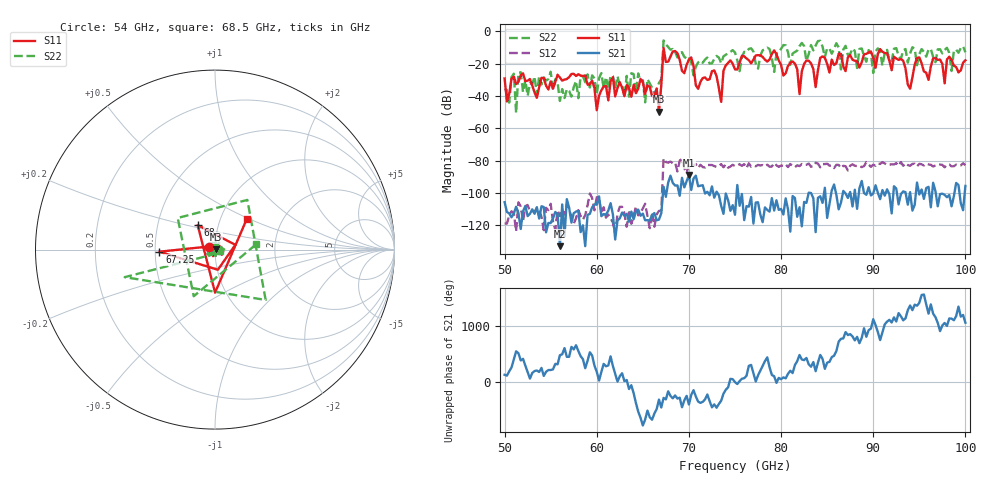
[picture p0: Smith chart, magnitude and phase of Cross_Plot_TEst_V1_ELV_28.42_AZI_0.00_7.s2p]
! 11/25/2026 1:19:46 PM
! C:\ANRITSUVNA\TEMP\TEMP.S2P
! CHANNEL.1
! TR.MEASUREMENT
! RAW.DATA
# HZ S RI R 50.0
! FREQ.HZ  S11RE  S11IM  S21RE  S21IM  S12RE  S12IM  S22RE  S22IM
!; PortSelection: Port_12
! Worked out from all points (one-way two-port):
!   201 points, 50 GHz to 100 GHz, reference 50 ohm
!   highest |S21| = -88.98 dB at 70 GHz (marker M1); lowest = -133.0 dB at 56 GHz (marker M2)
!   lowest |S11| = -49.7 dB at 66.75 GHz (marker M3), VSWR 1.01, Z = 50.3 + j0.0705 ohm
!   |S11| at or under -10 dB: start of sweep to end of sweep
!   |S22| runs from -50.5 to -5.6 dB; largest |S21 - S12| = 0.00013
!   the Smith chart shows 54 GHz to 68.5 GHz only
!   S11 on the Smith chart (normalised r, x): 54 GHz: 0.93, +0.03; 67.25 GHz: 0.53, -0.01; 68 GHz: 0.80, +0.22; 68.5 GHz: 1.33, +0.49
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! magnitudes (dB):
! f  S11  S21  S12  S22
! 50 GHz  -29.1  -105.7  -118.9  -35.8
! 51 GHz  -27.9  -112.6  -112.4  -26.2
! 51.25 GHz  -32.6  -108.6  -123.9  -50.5
! 51.5 GHz  -31.2  -112.5  -105.8  -25.7
! 54 GHz  -28.7  -108.3  -114.9  -32.9
! 56 GHz  -28.6  -133.0  -114.3  -43.1
! 58.5 GHz  -27.7  -120.1  -116.6  -27.7
! 60 GHz  -48.8  -107.3  -102.7  -38.6
! 61.75 GHz  -28.4  -113.3  -118.3  -27.7
! 66.75 GHz  -49.7  -116.6  -111.2  -31.9
! 67.25 GHz  -10.2  -96.2  -78.7  -5.6
! 68 GHz  -15.5  -89.4  -80.6  -11.3
! 68.5 GHz  -12.1  -95.5  -81.2  -12.7
! 70 GHz  -17.4  -89.0  -81.7  -15.6
! 73.5 GHz  -43.6  -108.0  -82.2  -19.7
! 73.75 GHz  -24.3  -113.0  -84.1  -15.4
! 75 GHz  -23.5  -113.5  -83.4  -13.0
! 83.5 GHz  -23.4  -103.3  -83.6  -11.8
! 91.75 GHz  -18.2  -100.8  -82.5  -17.6
! 94 GHz  -35.5  -99.5  -83.2  -13.7
! 94.75 GHz  -16.4  -93.6  -83.6  -20.9
! 100 GHz  -17.9  -95.7  -82.8  -12.9
